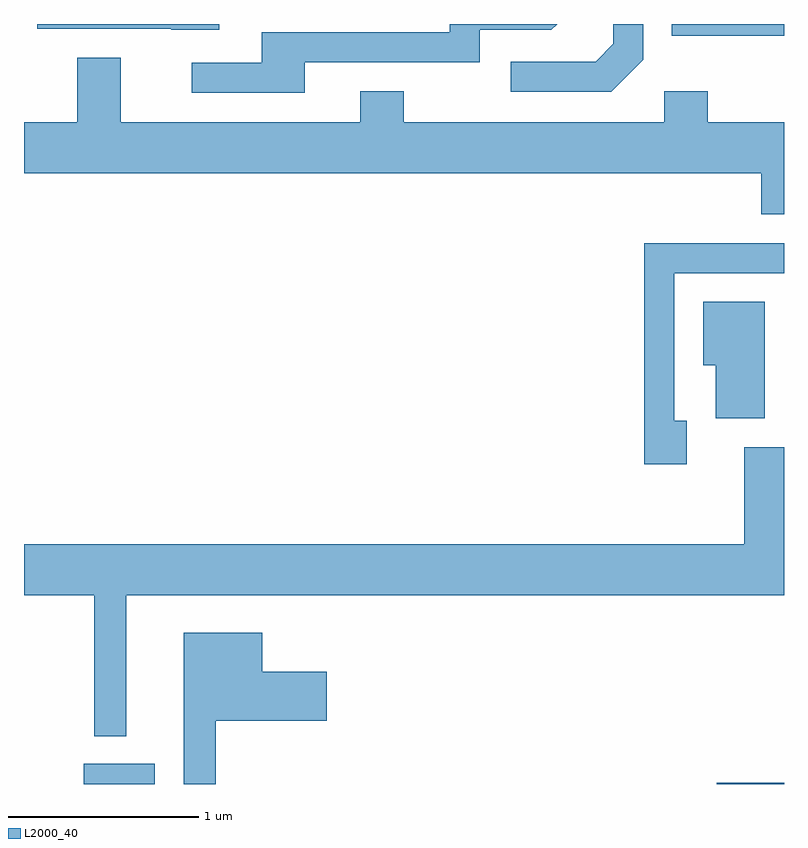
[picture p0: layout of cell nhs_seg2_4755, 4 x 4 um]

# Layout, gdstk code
import gdstk
lib = gdstk.Library(unit=1e-6, precision=1e-09)
def R(c, l, rs):  # rectangles x0, y0, x1, y1
    for r in rs: c.add(gdstk.rectangle(r[:2], r[2:], *l))
def P(c, l, *ps):  # polygons
    for p in ps: c.add(gdstk.Polygon(p, *l))
L2000_40 = (2000, 40)

nhs_seg2_4755 = lib.new_cell('nhs_seg2_4755')
R(nhs_seg2_4755, L2000_40, [(325.926,1011.802,326.299,1011.909), (329.256,1011.802,329.611,1011.809), (329.021,1015.741,329.611,1015.802)])
P(nhs_seg2_4755, L2000_40, [(326.639,1015.802),(325.681,1015.802),(325.681,1015.776),(326.385,1015.776),(326.385,1015.771),(326.639,1015.771)],
  [(328.869,1015.614),(328.869,1015.802),(328.711,1015.802),(328.711,1015.697),(328.619,1015.604),(328.173,1015.604),(328.173,1015.446),(328.702,1015.446)],
  [(327.089,1015.601),(328.009,1015.601),(328.009,1015.771),(328.387,1015.771),(328.418,1015.802),(327.851,1015.802),(327.851,1015.759),(326.861,1015.759),(326.861,1015.599),(326.493,1015.599),(326.493,1015.441),(327.089,1015.441)],
  [(329.611,1015.284),(329.209,1015.284),(329.209,1015.449),(328.981,1015.449),(328.981,1015.284),(327.609,1015.284),(327.609,1015.449),(327.381,1015.449),(327.381,1015.284),(326.119,1015.284),(326.119,1015.624),(325.891,1015.624),(325.891,1015.284),(325.611,1015.284),(325.611,1015.016),(329.491,1015.016),(329.491,1014.801),(329.611,1014.801)],
  [(329.099,1013.714),(329.034,1013.714),(329.034,1014.491),(329.611,1014.491),(329.611,1014.649),(328.876,1014.649),(328.876,1013.486),(329.099,1013.486)],
  [(329.509,1014.339),(329.186,1014.339),(329.186,1014.006),(329.251,1014.006),(329.251,1013.726),(329.509,1013.726)],
  [(326.149,1012.796),(329.611,1012.796),(329.611,1013.574),(329.401,1013.574),(329.401,1013.064),(325.611,1013.064),(325.611,1012.796),(325.981,1012.796),(325.981,1012.053),(326.149,1012.053)],
  [(326.619,1012.136),(327.204,1012.136),(327.204,1012.394),(326.864,1012.394),(326.864,1012.599),(326.451,1012.599),(326.451,1011.802),(326.619,1011.802)])

lib.write_gds('nhs_seg2_4755.gds')
